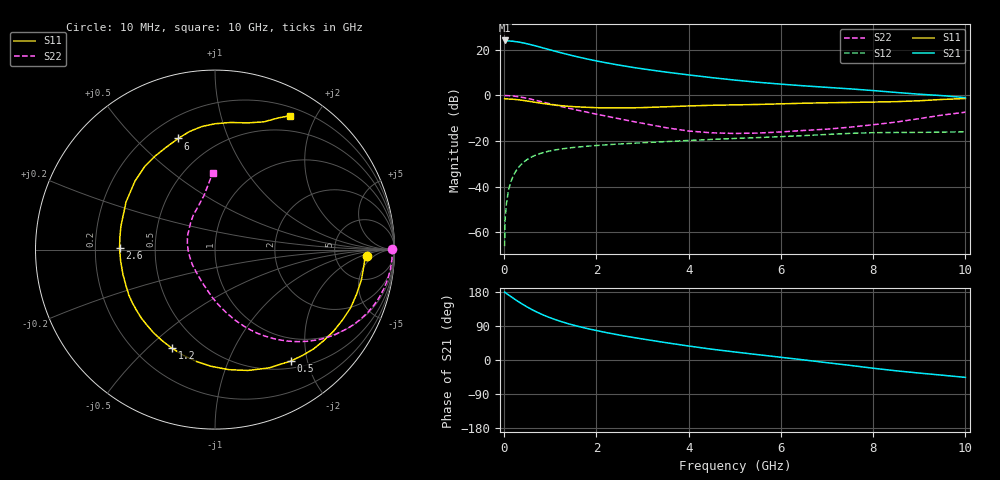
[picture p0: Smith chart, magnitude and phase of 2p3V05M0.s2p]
! (c) 2009  Infineon Technologies AG, Munich
! Infineon Technologies  Discrete & RF Semiconductors
! BFP420
! VCE =  3.0 V,  IC =  5.0 mA
! Common Emitter S-Parameters:  Nov 2009
# GHz  S  MA  R  50
!  f  S11  S21  S12  S22
! GHz  MAG  ANG  MAG  ANG  MAG  ANG  MAG  ANG
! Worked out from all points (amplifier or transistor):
!   46 points, 10 MHz to 10 GHz, reference 50 ohm
!   highest |S21| = 24.0 dB at 10 MHz (marker M1)
!   |S21| within 3 dB of that: start of sweep to 793.4 MHz
!   unconditionally stable (mu >= 1): start of sweep to 10.09 MHz; 3.014 GHz to end of sweep
!   at 300 MHz: K = 0.11, MSG = 27.6 dB, |S12| = -31.8 dB
!   at 1.7 GHz: K = 0.59, MSG = 19.4 dB, |S12| = -22.4 dB
!   at 10 GHz: K = 1.13, MAG = 5.3 dB, |S12| = -15.9 dB
!   lowest NFmin = 0.66 dB at 900 MHz
!   S11 on the Smith chart (normalised r, x): 10 MHz: 11, -3; 500 MHz: 0.61, -1.73; 1.2 GHz: 0.35, -0.60; 2.6 GHz: 0.31, +0.01; 6 GHz: 0.31, +0.67; 10 GHz: 0.30, +1.66
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0.01  0.8454 -2.4  15.92 179.1  0.0005 50.0  0.986 0.3
0.02  0.8378 -2.3  15.55 178.3  0.0019 81.9  0.9876 -1.3
0.1  0.8331 -11.6  15.57 171.3  0.009 82.6  0.9834 -6.6
0.2  0.8224 -23.2  15.26 162.9  0.0176 77.4  0.9655 -13.1
0.3  0.8019 -34.4  14.77 154.7  0.0256 72.2  0.9375 -19.4
0.4  0.7796 -45.2  14.15 147.1  0.0329 66.9  0.9009 -25.2
0.5  0.7512 -55.7  13.45 139.9  0.0394 62.3  0.8602 -30.6
0.6  0.7241 -65.6  12.72 133.1  0.0451 57.8  0.8171 -35.7
0.8  0.6734 -83.4  11.22 121.4  0.0542 50.6  0.731 -44.3
1  0.6318 -99.5  9.896 111.4  0.061 45.0  0.6516 -51.5
1.2  0.5998 -113.6  8.732 102.8  0.0662 40.6  0.5823 -57.7
1.4  0.5768 -126.1  7.758 95.4  0.0704 37.1  0.523 -63.1
1.7  0.5526 -142.4  6.595 86.0  0.0756 33.1  0.4486 -70.0
2.2  0.5311 -165.0  5.194 72.7  0.0826 28.2  0.3538 -80.2
2.6  0.532 179.2  4.407 63.6  0.0873 25.2  0.2931 -88.7
3.5  0.5623 151.8  3.241 45.9  0.0972 20.0  0.1969 -111.2
4.5  0.6069 130.0  2.447 28.5  0.1085 14.5  0.1515 -146.2
5.5  0.6324 115.2  1.937 14.1  0.1191 9.5  0.1496 -178.5
6  0.6522 108.3  1.762 7.2  0.1249 7.1  0.1583 166.7
7  0.6894 96.2  1.497 -7.1  0.1395 1.0  0.1821 142.9
8.5  0.7289 75.6  1.158 -28.5  0.154 -12.6  0.2605 110.7
10  0.854 60.8  0.893 -45.9  0.1596 -21.5  0.4286 91.7
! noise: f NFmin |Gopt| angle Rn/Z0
0.9  0.66  0.21  31  0.15
1.8  1.05  0.09  93  0.13
2.4  1.14  0.14  119  0.13
3  1.24  0.17  165  0.11
4  1.41  0.31  -145  0.12
5  1.85  0.38  -119  0.21
6  2.3  0.45  -101  0.36
